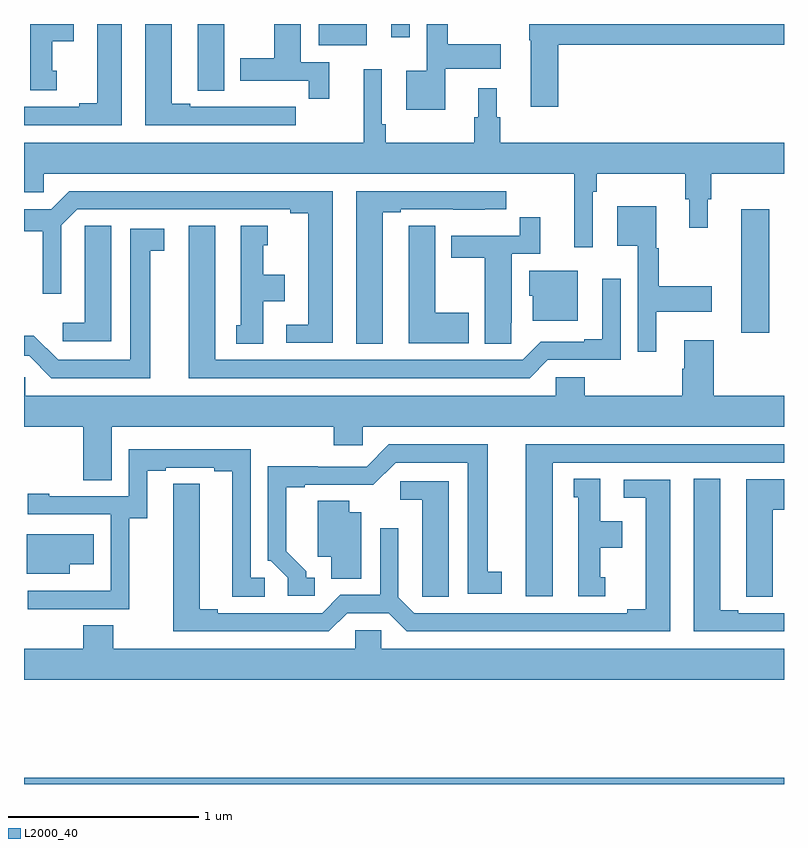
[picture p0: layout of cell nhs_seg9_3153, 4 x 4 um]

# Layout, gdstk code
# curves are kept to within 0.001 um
import gdstk
lib = gdstk.Library(unit=1e-6, precision=1e-09)
def R(c, l, rs):  # rectangles x0, y0, x1, y1
    for r in rs: c.add(gdstk.rectangle(r[:2], r[2:], *l))
def P(c, l, *ps):  # polygons
    for p in ps: c.add(gdstk.Polygon(p, *l))
L2000_40 = (2000, 40)

nhs_seg9_3153 = lib.new_cell('nhs_seg9_3153')
R(nhs_seg9_3153, L2000_40, [(291,1234.5,295,1234.532), (294.776,1236.876,294.923,1237.525), (292.55,1238.387,292.804,1238.5), (292.934,1238.43,293.031,1238.5)])
P(nhs_seg9_3153, L2000_40, [(291.172,1238.253),(291.148,1238.253),(291.148,1238.408),(291.262,1238.408),(291.262,1238.5),(291.032,1238.5),(291.032,1238.151),(291.172,1238.151)],
  [(293.218,1238.264),(293.509,1238.264),(293.509,1238.394),(293.23,1238.394),(293.23,1238.5),(293.121,1238.5),(293.121,1238.254),(293.012,1238.254),(293.012,1238.048),(293.218,1238.048)],
  [(292.607,1238.298),(292.456,1238.298),(292.456,1238.5),(292.316,1238.5),(292.316,1238.319),(292.139,1238.319),(292.139,1238.202),(292.498,1238.202),(292.498,1238.106),(292.607,1238.106)],
  [(293.813,1238.392),(295,1238.392),(295,1238.5),(293.659,1238.5),(293.659,1238.415),(293.666,1238.415),(293.666,1238.064),(293.813,1238.064)],
  [(292.054,1238.5),(291.914,1238.5),(291.914,1238.257),(291.915,1238.257),(291.915,1238.149),(292.054,1238.149)],
  [(291.514,1238.5),(291.386,1238.5),(291.386,1238.084),(291.29,1238.084),(291.29,1238.064),(291,1238.064),(291,1237.968),(291.514,1237.968)],
  [(292.429,1238.064),(292.316,1238.064),(292.316,1238.065),(292.15,1238.065),(292.15,1238.064),(291.874,1238.064),(291.874,1238.079),(291.778,1238.079),(291.778,1238.5),(291.638,1238.5),(291.638,1237.968),(292.429,1237.968)],
  [(293.994,1237.616),(294.014,1237.616),(294.014,1237.712),(294.481,1237.712),(294.481,1237.578),(294.5,1237.578),(294.5,1237.428),(294.598,1237.428),(294.598,1237.578),(294.617,1237.578),(294.617,1237.712),(295,1237.712),(295,1237.876),(293.507,1237.876),(293.507,1238.01),(293.488,1238.01),(293.488,1238.161),(293.39,1238.161),(293.39,1238.01),(293.371,1238.01),(293.371,1237.876),(292.904,1237.876),(292.904,1237.972),(292.884,1237.972),(292.884,1238.263),(292.787,1238.263),(292.787,1237.876),(291,1237.876),(291,1237.614),(291.105,1237.614),(291.105,1237.712),(293.897,1237.712),(293.897,1237.326),(293.994,1237.326)],
  [(292.888,1237.509),(292.984,1237.509),(292.984,1237.524),(293.26,1237.524),(293.26,1237.523),(293.426,1237.523),(293.426,1237.524),(293.539,1237.524),(293.539,1237.62),(292.748,1237.62),(292.748,1236.817),(292.888,1236.817)],
  [(292.624,1237.62),(291.239,1237.62),(291.143,1237.524),(291,1237.524),(291,1237.408),(291.098,1237.408),(291.098,1237.08),(291.195,1237.08),(291.195,1237.44),(291.279,1237.524),(292.4,1237.524),(292.4,1237.504),(292.496,1237.504),(292.496,1236.918),(292.38,1236.918),(292.38,1236.822),(292.624,1236.822)],
  [(294.328,1236.986),(294.619,1236.986),(294.619,1237.121),(294.34,1237.121),(294.34,1237.32),(294.328,1237.32),(294.328,1237.54),(294.122,1237.54),(294.122,1237.334),(294.231,1237.334),(294.231,1236.774),(294.328,1236.774)],
  [(293.565,1236.928),(293.566,1236.928),(293.566,1237.29),(293.717,1237.29),(293.717,1237.483),(293.608,1237.483),(293.608,1237.386),(293.249,1237.386),(293.249,1237.27),(293.426,1237.27),(293.426,1236.817),(293.565,1236.817)],
  [(291.46,1237.439),(291.321,1237.439),(291.321,1237.331),(291.32,1237.331),(291.32,1236.928),(291.204,1236.928),(291.204,1236.831),(291.46,1236.831)],
  [(293.341,1236.981),(293.164,1236.981),(293.164,1237.439),(293.025,1237.439),(293.025,1237.331),(293.024,1237.331),(293.024,1236.821),(293.341,1236.821)],
  [(293.757,1236.732),(294.141,1236.732),(294.141,1237.159),(294.044,1237.159),(294.044,1236.841),(293.948,1236.841),(293.948,1236.828),(293.721,1236.828),(293.625,1236.732),(292.006,1236.732),(292.006,1237.438),(291.866,1237.438),(291.866,1236.636),(293.661,1236.636)],
  [(292.258,1237.04),(292.372,1237.04),(292.372,1237.18),(292.258,1237.18),(292.258,1237.335),(292.282,1237.335),(292.282,1237.438),(292.142,1237.438),(292.142,1236.915),(292.118,1236.915),(292.118,1236.817),(292.258,1236.817)],
  [(291.664,1237.306),(291.739,1237.306),(291.739,1237.422),(291.56,1237.422),(291.56,1236.732),(291.18,1236.732),(291.052,1236.86),(291,1236.86),(291,1236.753),(291.027,1236.753),(291.144,1236.636),(291.664,1236.636)],
  [(293.914,1237.201),(293.66,1237.201),(293.66,1237.071),(293.678,1237.071),(293.678,1236.938),(293.914,1236.938)],
  [(291.463,1236.38),(292.631,1236.38),(292.631,1236.282),(292.782,1236.282),(292.782,1236.38),(295,1236.38),(295,1236.544),(294.629,1236.544),(294.629,1236.835),(294.476,1236.835),(294.476,1236.686),(294.464,1236.686),(294.464,1236.544),(293.951,1236.544),(293.951,1236.642),(293.799,1236.642),(293.799,1236.544),(291.006,1236.544),(291.006,1236.642),(291,1236.642),(291,1236.38),(291.311,1236.38),(291.311,1236.1),(291.463,1236.1)],
  [(293.782,1236.192),(295,1236.192),(295,1236.288),(293.642,1236.288),(293.642,1235.487),(293.782,1235.487)],
  [(292.531,1235.586),(292.486,1235.586),(292.486,1235.621),(292.381,1235.726),(292.381,1236.063),(292.477,1236.063),(292.477,1236.075),(292.838,1236.074),(292.956,1236.192),(293.336,1236.192),(293.336,1235.502),(293.515,1235.502),(293.515,1235.618),(293.44,1235.618),(293.44,1236.288),(292.92,1236.288),(292.803,1236.171),(292.547,1236.171),(292.547,1236.173),(292.284,1236.173),(292.284,1235.676),(292.299,1235.676),(292.389,1235.586),(292.389,1235.49),(292.531,1235.49)],
  [(291.555,1235.899),(291.649,1235.899),(291.649,1236.15),(291.745,1236.15),(291.745,1236.165),(292.001,1236.165),(292.001,1236.145),(292.097,1236.145),(292.097,1235.485),(292.267,1235.485),(292.267,1235.586),(292.194,1235.586),(292.194,1236.261),(291.552,1236.261),(291.552,1236.015),(291.133,1236.015),(291.133,1236.028),(291.021,1236.028),(291.021,1235.919),(291.456,1235.919),(291.456,1235.518),(291.455,1235.518),(291.455,1235.517),(291.021,1235.517),(291.021,1235.421),(291.555,1235.421)],
  [(295,1235.4),(294.76,1235.4),(294.76,1235.415),(294.664,1235.415),(294.664,1236.107),(294.524,1236.107),(294.524,1235.304),(295,1235.304)],
  [(294.058,1235.589),(294.034,1235.589),(294.034,1235.744),(294.148,1235.744),(294.148,1235.884),(294.034,1235.884),(294.034,1236.107),(293.894,1236.107),(293.894,1236.009),(293.918,1236.009),(293.918,1235.487),(294.058,1235.487)],
  [(294.94,1235.944),(295,1235.944),(295,1236.103),(294.8,1236.103),(294.8,1235.593),(294.801,1235.593),(294.801,1235.485),(294.94,1235.485)],
  [(292.701,1235.4),(292.919,1235.4),(293.015,1235.304),(294.4,1235.304),(294.4,1236.102),(294.156,1236.102),(294.156,1236.006),(294.272,1236.006),(294.272,1235.42),(294.176,1235.42),(294.176,1235.4),(293.055,1235.4),(292.971,1235.484),(292.971,1235.845),(292.875,1235.845),(292.875,1235.496),(292.665,1235.496),(292.569,1235.4),(292.021,1235.4),(292.021,1235.42),(291.925,1235.42),(291.925,1236.08),(291.786,1236.08),(291.785,1235.304),(292.605,1235.304)],
  [(293.236,1236.093),(292.98,1236.093),(292.98,1235.996),(293.096,1235.996),(293.096,1235.593),(293.097,1235.593),(293.097,1235.485),(293.236,1235.485)],
  [(292.774,1235.929),(292.711,1235.929),(292.711,1235.99),(292.547,1235.99),(292.547,1235.696),(292.616,1235.696),(292.616,1235.581),(292.774,1235.581)],
  [(291.241,1235.657),(291.367,1235.657),(291.367,1235.815),(291.014,1235.815),(291.014,1235.606),(291.241,1235.606)],
  [(295,1235.212),(292.881,1235.212),(292.881,1235.31),(292.743,1235.31),(292.743,1235.212),(291.471,1235.212),(291.471,1235.336),(291.311,1235.336),(291.311,1235.212),(291,1235.212),(291,1235.048),(295,1235.048)])

lib.write_gds('nhs_seg9_3153.gds')
